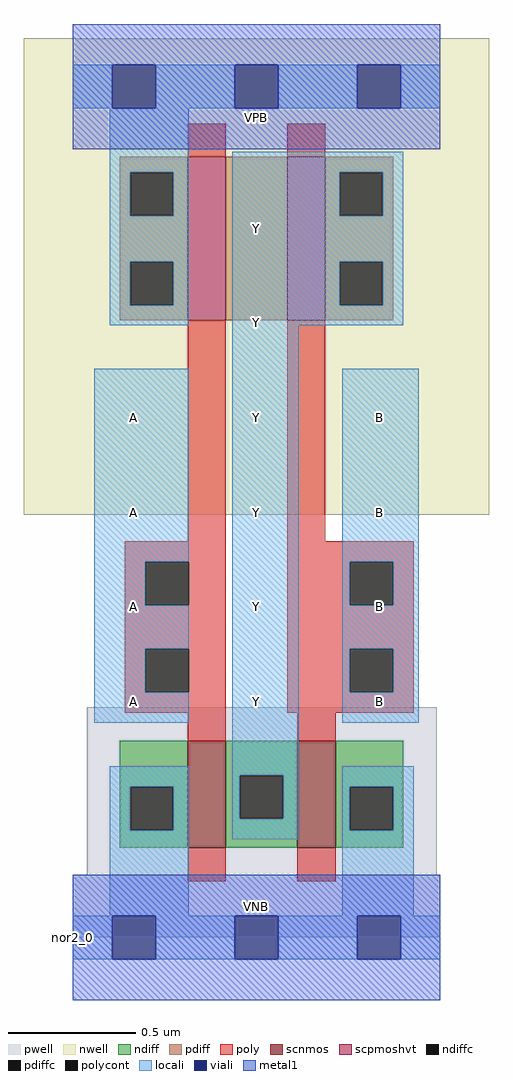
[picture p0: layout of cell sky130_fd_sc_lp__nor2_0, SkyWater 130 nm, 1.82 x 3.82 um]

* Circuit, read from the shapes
.subckt sky130_fd_sc_lp__nor2_0 A B VGND VNB VPB VPWR Y
XM1 Y A VGND VNB sky130_fd_pr__nfet_01v8 w=0.42 l=0.15
XM2 VGND B Y VNB sky130_fd_pr__nfet_01v8 w=0.42 l=0.15
XM3 n1 A VPWR VPB sky130_fd_pr__pfet_01v8_hvt w=0.64 l=0.15
XM4 Y B n1 VPB sky130_fd_pr__pfet_01v8_hvt w=0.64 l=0.15
.ends

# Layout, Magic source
magic
tech sky130A
magscale 1 2
<< nwell >>
rect -38 331 326 704
<< pwell >>
rect 11 49 285 180
rect 0 0 288 49
<< scnmos >>
rect 90 70 120 154
rect 176 70 206 154
<< scpmoshvt >>
rect 90 483 120 611
rect 168 483 198 611
<< ndiff >>
rect 37 118 90 154
rect 37 84 45 118
rect 79 84 90 118
rect 37 70 90 84
rect 120 127 176 154
rect 120 93 131 127
rect 165 93 176 127
rect 120 70 176 93
rect 206 118 259 154
rect 206 84 217 118
rect 251 84 259 118
rect 206 70 259 84
<< pdiff >>
rect 37 599 90 611
rect 37 565 45 599
rect 79 565 90 599
rect 37 529 90 565
rect 37 495 45 529
rect 79 495 90 529
rect 37 483 90 495
rect 120 483 168 611
rect 198 599 251 611
rect 198 565 209 599
rect 243 565 251 599
rect 198 529 251 565
rect 198 495 209 529
rect 243 495 251 529
rect 198 483 251 495
<< ndiffc >>
rect 45 84 79 118
rect 131 93 165 127
rect 217 84 251 118
<< pdiffc >>
rect 45 565 79 599
rect 45 495 79 529
rect 209 565 243 599
rect 209 495 243 529
<< poly >>
rect 90 611 120 637
rect 168 611 198 637
rect 90 310 120 483
rect 41 294 120 310
rect 41 260 57 294
rect 91 260 120 294
rect 41 226 120 260
rect 41 192 57 226
rect 91 192 120 226
rect 41 176 120 192
rect 168 310 198 483
rect 168 294 267 310
rect 168 260 217 294
rect 251 260 267 294
rect 168 226 267 260
rect 168 192 217 226
rect 251 192 267 226
rect 168 176 267 192
rect 90 154 120 176
rect 176 154 206 176
rect 90 44 120 70
rect 176 44 206 70
<< polycont >>
rect 57 260 91 294
rect 57 192 91 226
rect 217 260 251 294
rect 217 192 251 226
<< locali >>
rect 0 649 31 683
rect 65 649 127 683
rect 161 649 223 683
rect 257 649 288 683
rect 29 599 91 649
rect 29 565 45 599
rect 79 565 91 599
rect 29 529 91 565
rect 29 495 45 529
rect 79 495 91 529
rect 29 479 91 495
rect 125 599 259 615
rect 125 565 209 599
rect 243 565 259 599
rect 125 529 259 565
rect 125 495 209 529
rect 243 495 259 529
rect 125 479 259 495
rect 17 294 91 445
rect 17 260 57 294
rect 17 226 91 260
rect 17 192 57 226
rect 17 168 91 192
rect 29 118 91 134
rect 29 84 45 118
rect 79 84 91 118
rect 29 17 91 84
rect 125 127 177 479
rect 211 294 271 445
rect 211 260 217 294
rect 251 260 271 294
rect 211 226 271 260
rect 211 192 217 226
rect 251 192 271 226
rect 211 168 271 192
rect 125 93 131 127
rect 165 93 177 127
rect 125 77 177 93
rect 211 118 267 134
rect 211 84 217 118
rect 251 84 267 118
rect 211 17 267 84
rect 0 -17 31 17
rect 65 -17 127 17
rect 161 -17 223 17
rect 257 -17 288 17
<< viali >>
rect 31 649 65 683
rect 127 649 161 683
rect 223 649 257 683
rect 31 -17 65 17
rect 127 -17 161 17
rect 223 -17 257 17
<< metal1 >>
rect 0 683 288 715
rect 0 649 31 683
rect 65 649 127 683
rect 161 649 223 683
rect 257 649 288 683
rect 0 617 288 649
rect 0 17 288 49
rect 0 -17 31 17
rect 65 -17 127 17
rect 161 -17 223 17
rect 257 -17 288 17
rect 0 -49 288 -17
<< labels >>
flabel pwell s 0 0 288 49 0 FreeSans 200 0 0 0 VNB
port 4 nsew ground bidirectional
flabel nwell s 0 617 288 666 0 FreeSans 200 0 0 0 VPB
port 5 nsew power bidirectional
rlabel comment s 0 0 0 0 4 nor2_0
flabel metal1 s 0 617 288 666 0 FreeSans 340 0 0 0 VPWR
port 6 nsew power bidirectional
flabel metal1 s 0 0 288 49 0 FreeSans 340 0 0 0 VGND
port 3 nsew ground bidirectional
flabel locali s 31 168 65 202 0 FreeSans 340 0 0 0 A
port 1 nsew signal input
flabel locali s 31 242 65 276 0 FreeSans 340 0 0 0 A
port 1 nsew signal input
flabel locali s 31 316 65 350 0 FreeSans 340 0 0 0 A
port 1 nsew signal input
flabel locali s 31 390 65 424 0 FreeSans 340 0 0 0 A
port 1 nsew signal input
flabel locali s 127 168 161 202 0 FreeSans 340 0 0 0 Y
port 7 nsew signal output
flabel locali s 127 242 161 276 0 FreeSans 340 0 0 0 Y
port 7 nsew signal output
flabel locali s 127 316 161 350 0 FreeSans 340 0 0 0 Y
port 7 nsew signal output
flabel locali s 127 390 161 424 0 FreeSans 340 0 0 0 Y
port 7 nsew signal output
flabel locali s 127 464 161 498 0 FreeSans 340 0 0 0 Y
port 7 nsew signal output
flabel locali s 127 538 161 572 0 FreeSans 340 0 0 0 Y
port 7 nsew signal output
flabel locali s 223 168 257 202 0 FreeSans 340 0 0 0 B
port 2 nsew signal input
flabel locali s 223 242 257 276 0 FreeSans 340 0 0 0 B
port 2 nsew signal input
flabel locali s 223 316 257 350 0 FreeSans 340 0 0 0 B
port 2 nsew signal input
flabel locali s 223 390 257 424 0 FreeSans 340 0 0 0 B
port 2 nsew signal input
<< properties >>
string LEFsite unit
string LEFclass CORE
string FIXED_BBOX 0 0 288 666
string GDS_FILE $PDKPATH/libs.ref/sky130_fd_sc_lp/gds/sky130_fd_sc_lp.gds
string LEFsymmetry X Y R90
string GDS_END 5426286
string GDS_START 5421502
<< end >>
